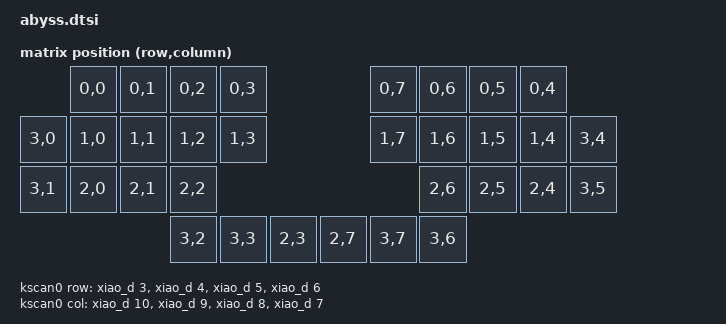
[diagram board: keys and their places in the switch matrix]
#include <dt-bindings/zmk/matrix_transform.h>

/ {
    chosen {
        zmk,kscan = &kscan0;
        zmk,matrix-transform = &default_transform;
    };

    default_transform: keymap_transform_0 {
        compatible = "zmk,matrix-transform";
        columns = <12>;
        rows = <4>;
        map = <
                    RC(0,0) RC(0,1) RC(0,2) RC(0,3)                  RC(0,7) RC(0,6) RC(0,5) RC(0,4)
            RC(3,0) RC(1,0) RC(1,1) RC(1,2) RC(1,3)                  RC(1,7) RC(1,6) RC(1,5) RC(1,4) RC(3,4)
            RC(3,1) RC(2,0) RC(2,1) RC(2,2)                                  RC(2,6) RC(2,5) RC(2,4) RC(3,5)
                                    RC(3,2) RC(3,3) RC(2,3)  RC(2,7) RC(3,7) RC(3,6)
        >;
    };

    kscan0: kscan {
        compatible = "zmk,kscan-gpio-matrix";
        wakeup-source;

        diode-direction = "col2row";
        row-gpios
            = <&xiao_d 3 (GPIO_ACTIVE_HIGH | GPIO_PULL_DOWN)>
            , <&xiao_d 4 (GPIO_ACTIVE_HIGH | GPIO_PULL_DOWN)>
            , <&xiao_d 5 (GPIO_ACTIVE_HIGH | GPIO_PULL_DOWN)>
            , <&xiao_d 6 (GPIO_ACTIVE_HIGH | GPIO_PULL_DOWN)>
            ;
        col-gpios
            = <&xiao_d 10 GPIO_ACTIVE_HIGH>
            , <&xiao_d 9 GPIO_ACTIVE_HIGH>
            , <&xiao_d 8 GPIO_ACTIVE_HIGH>
            , <&xiao_d 7 GPIO_ACTIVE_HIGH>
            ;
    };
};
